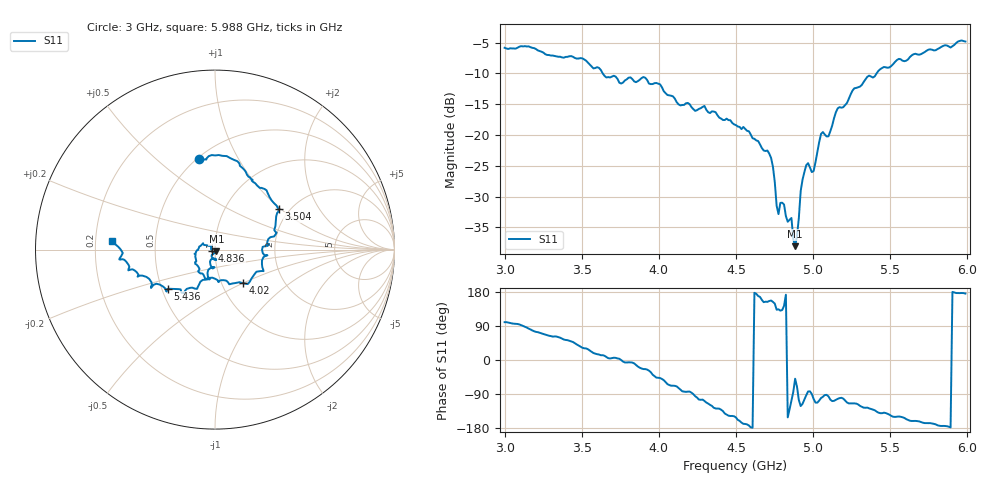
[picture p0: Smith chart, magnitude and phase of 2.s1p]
! Saved from nanovna library
# Hz S RI R 50
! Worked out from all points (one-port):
!   250 points, 3 GHz to 5.988 GHz, reference 50 ohm
!   lowest |S11| = -38.1 dB at 4.884 GHz (marker M1), VSWR 1.03, Z = 50.8 - j0.964 ohm
!   |S11| at or under -10 dB: 3.636 GHz to 5.412 GHz (1.776 GHz wide, 39.2 % of centre)
!   S11 on the Smith chart (normalised r, x): 3 GHz: 0.51, +0.70; 3.504 GHz: 1.76, +0.96; 4.02 GHz: 1.26, -0.50; 4.836 GHz: 0.97, -0.02; 5.436 GHz: 0.54, -0.27; 5.988 GHz: 0.27, +0.04
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3e9  -0.0874 0.5038
3.156e9  0.0651 0.521
3.384e9  0.2498 0.3438
3.504e9  0.354 0.2252
3.756e9  0.2621 -0.00084
3.9e9  0.2704 -0.12
4.02e9  0.1571 -0.1874
4.128e9  0.0495 -0.1703
4.5e9  -0.1058 -0.0573
4.716e9  -0.0643 0.0292
4.74e9  -0.0494 0.0248
4.776e9  -0.0158 0.0164
4.8e9  -0.0188 0.021
4.836e9  -0.0173 -0.00947
4.86e9  -0.00624 -0.0202
4.872e9  0.00141 -0.0142
4.884e9  0.00814 -0.00948
4.908e9  -0.00573 -0.0204
4.92e9  -0.0184 -0.0299
4.956e9  -0.00298 -0.0568
5.004e9  -0.0114 -0.0497
5.052e9  -0.0183 -0.1004
5.1e9  -0.0102 -0.0971
5.16e9  -0.0357 -0.1607
5.244e9  -0.0888 -0.1948
5.436e9  -0.2637 -0.2191
5.616e9  -0.3822 -0.1521
5.988e9  -0.573 0.0472
